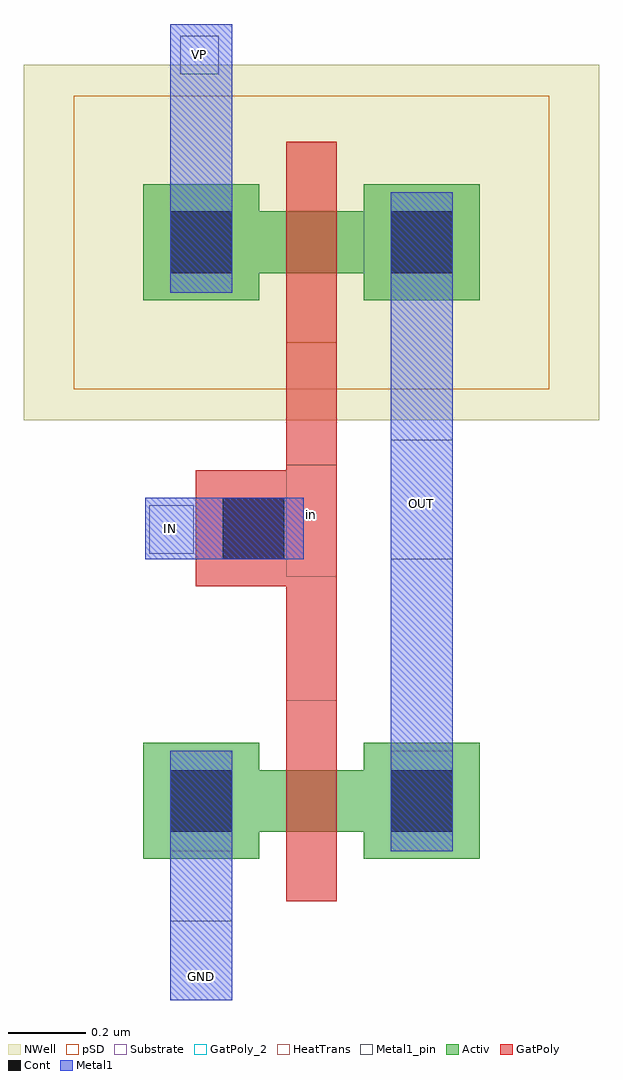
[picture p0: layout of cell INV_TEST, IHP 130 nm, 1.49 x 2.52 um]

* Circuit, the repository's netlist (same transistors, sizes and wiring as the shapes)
* Extracted by KLayout with SG13G2 LVS runset on : 18/03/2026 18:16

* cell inv_test
* pin GND
* pin OUT
* pin IN
* pin VP
.SUBCKT inv_test GND OUT IN VP
* device instance $1 r0 *1 2.545,-1.885 sg13_lv_nmos
M$1 GND IN OUT \$1 sg13_lv_nmos L=0.13u W=0.16u AS=0.1012p AD=0.1012p PS=1.34u
+ PD=1.34u
* device instance $2 r0 *1 2.545,-0.44 sg13_lv_pmos
M$2 VP IN OUT \$6 sg13_lv_pmos L=0.13u W=0.16u AS=0.1012p AD=0.1012p PS=1.34u
+ PD=1.34u
.ENDS inv_test

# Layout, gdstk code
import gdstk
lib = gdstk.Library(unit=1e-6, precision=5e-09)
def R(c, l, rs):  # rectangles x0, y0, x1, y1
    for r in rs: c.add(gdstk.rectangle(r[:2], r[2:], *l))
Activ = (1, 0)
GatPoly = (5, 0)
GatPoly_2 = (5, 2)
Cont = (6, 0)
Metal1 = (8, 0)
Metal1_pin = (8, 2)
pSD = (14, 0)
NWell = (31, 0)
Substrate = (40, 0)
HeatTrans = (51, 0)

nmos_1 = lib.new_cell('nmos$1')
R(nmos_1, Activ, [(0,0,0.3,0.3), (0.57,0,0.87,0.3), (0,0.07,0.87,0.23)])
R(nmos_1, GatPoly, [(0.37,-0.11,0.5,0.41)])
R(nmos_1, GatPoly_2, [(0.37,-0.11,0.5,0.41)])
R(nmos_1, Cont, [(0.07,0.07,0.23,0.23), (0.64,0.07,0.8,0.23)])
R(nmos_1, Metal1, [(0.07,0.02,0.23,0.28), (0.64,0.02,0.8,0.28)])
R(nmos_1, Metal1_pin, [(0.07,0.02,0.23,0.28), (0.64,0.02,0.8,0.28)])
R(nmos_1, HeatTrans, [(0.37,-0.11,0.5,0.41)])
nmos_1.add(gdstk.Label('nmos', (0.435,0.15), layer=63, texttype=0))
nmos_1.add(gdstk.Label('nmos', (0.435,0.15), layer=51, texttype=0))

pmos_1 = lib.new_cell('pmos$1')
R(pmos_1, Activ, [(0,0,0.3,0.3), (0.57,0,0.87,0.3), (0,0.07,0.87,0.23)])
R(pmos_1, GatPoly, [(0.37,-0.11,0.5,0.41), (0.37,-0.11,0.5,0.41)])
R(pmos_1, Cont, [(0.07,0.07,0.23,0.23), (0.64,0.07,0.8,0.23)])
R(pmos_1, Metal1, [(0.07,0.02,0.23,0.28), (0.07,0.02,0.23,0.28), (0.64,0.02,0.8,0.28), (0.64,0.02,0.8,0.28)])
R(pmos_1, pSD, [(-0.18,-0.23,1.05,0.53)])
R(pmos_1, NWell, [(-0.31,-0.31,1.18,0.61)])
R(pmos_1, Substrate, [(0.57,0,0.87,0.3)])
R(pmos_1, HeatTrans, [(0.37,-0.11,0.5,0.41)])
pmos_1.add(gdstk.Label('pmos', (0.435,0.15), layer=63, texttype=0))
pmos_1.add(gdstk.Label('pmos', (0.435,0.15), layer=51, texttype=0))

via_1 = lib.new_cell('Via$1')
R(via_1, GatPoly, [(-0.15,-0.15,0.15,0.15)])
R(via_1, Cont, [(-0.08,-0.08,0.08,0.08)])
R(via_1, Metal1, [(-0.13,-0.08,0.13,0.08)])

inv_test = lib.new_cell('INV_TEST')
R(inv_test, GatPoly, [(2.48,-1.635,2.61,-0.7)])
R(inv_test, GatPoly_2, [(2.48,-1.305,2.61,-1.015), (2.495,-1.195,2.595,-1.095)])
R(inv_test, Metal1, [(2.18,-2.4,2.34,-2.015), (2.75,-1.755,2.91,-0.52), (2.115,-1.26,2.265,-1.1), (2.18,-0.31,2.34,0.125), (2.18,-0.045,2.34,0.125)])
R(inv_test, Metal1_pin, [(2.18,-2.4,2.34,-2.195), (2.21,-2.39,2.31,-2.29), (2.75,-1.26,2.91,-0.95), (2.125,-1.245,2.24,-1.12), (2.13,-1.23,2.23,-1.13), (2.78,-1.165,2.88,-1.065), (2.205,-0.005,2.305,0.095)])
inv_test.add(gdstk.Reference(nmos_1, (2.11,-2.035)))
inv_test.add(gdstk.Reference(pmos_1, (2.11,-0.59)))
inv_test.add(gdstk.Reference(via_1, (2.395,-1.18)))
inv_test.add(gdstk.Label('OUT', (2.83,-1.115), layer=8, texttype=25))
inv_test.add(gdstk.Label('IN', (2.18,-1.18), layer=8, texttype=25))
inv_test.add(gdstk.Label('GND', (2.26,-2.34), layer=8, texttype=25))
inv_test.add(gdstk.Label('VP', (2.255,0.045), layer=8, texttype=25))
inv_test.add(gdstk.Label('in', (2.545,-1.145), layer=5, texttype=1))

lib.write_gds('INV_TEST.gds')
